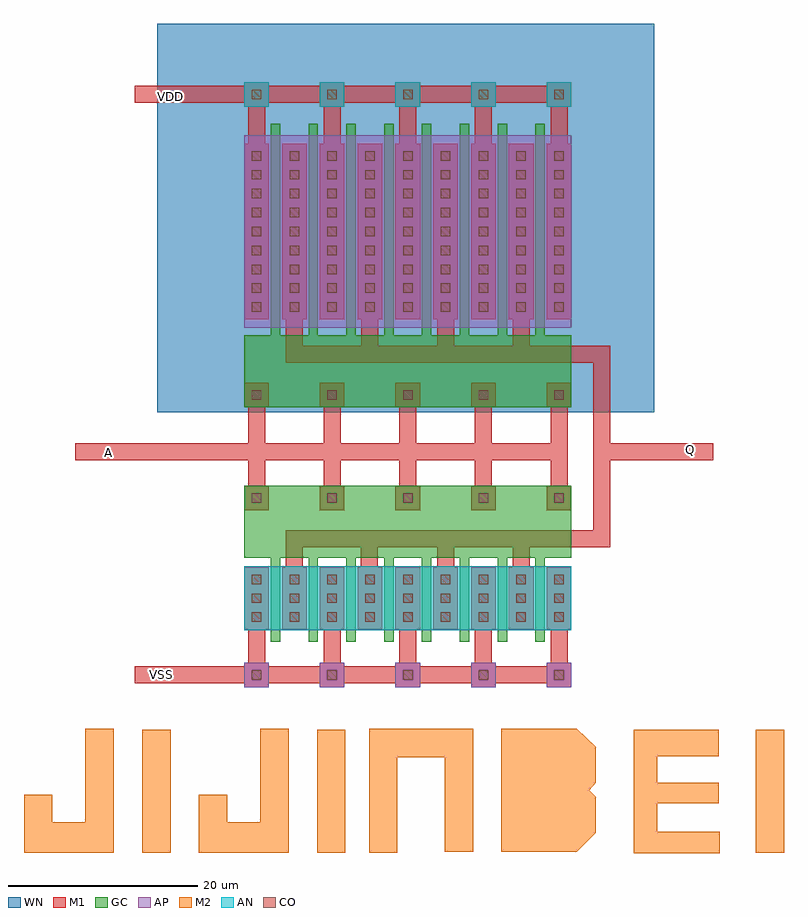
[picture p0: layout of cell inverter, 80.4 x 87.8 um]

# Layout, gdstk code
import gdstk
lib = gdstk.Library(unit=1e-6, precision=1e-07)
def R(c, l, rs):  # rectangles x0, y0, x1, y1
    for r in rs: c.add(gdstk.rectangle(r[:2], r[2:], *l))
def A(c, l, x, y, w, h, nx, ny, dx, dy):  # array of equal rectangles
    R(c, l, [(x+i*dx, y+j*dy, x+i*dx+w, y+j*dy+h) for i in range(nx) for j in range(ny)])
def P(c, l, *ps):  # polygons
    for p in ps: c.add(gdstk.Polygon(p, *l))
AP = (3, 1)
AN = (3, 2)
GC = (8, 1)
CO = (11, 0)
M1 = (13, 0)
M2 = (20, 0)
WN = (140, 0)

fet_p = lib.new_cell('fet_p')
R(fet_p, AP, [(-17.3,-10.2,17.3,10.2)])
A(fet_p, CO, -16.5, -8.5, 1, 1, 9, 9, 4, 2)
A(fet_p, M1, -17.3, -9.3, 2.6, 18.6, 9, 1, 4, 0)
fet_p.add(gdstk.FlexPath([(2,-11.4),(2,11.4)], 1, ends="flush", simple_path=True, layer=8, datatype=1))  # GC
fet_p.add(gdstk.FlexPath([(-2,-11.4),(-2,11.4)], 1, ends="flush", simple_path=True, layer=8, datatype=1))  # GC
fet_p.add(gdstk.FlexPath([(6,-11.4),(6,11.4)], 1, ends="flush", simple_path=True, layer=8, datatype=1))  # GC
fet_p.add(gdstk.FlexPath([(-6,-11.4),(-6,11.4)], 1, ends="flush", simple_path=True, layer=8, datatype=1))  # GC
fet_p.add(gdstk.FlexPath([(10,-11.4),(10,11.4)], 1, ends="flush", simple_path=True, layer=8, datatype=1))  # GC
fet_p.add(gdstk.FlexPath([(-10,-11.4),(-10,11.4)], 1, ends="flush", simple_path=True, layer=8, datatype=1))  # GC
fet_p.add(gdstk.FlexPath([(14,-11.4),(14,11.4)], 1, ends="flush", simple_path=True, layer=8, datatype=1))  # GC
fet_p.add(gdstk.FlexPath([(-14,-11.4),(-14,11.4)], 1, ends="flush", simple_path=True, layer=8, datatype=1))  # GC

cont_g = lib.new_cell('cont_g')
R(cont_g, GC, [(-1.3,-1.3,1.3,1.3)])
R(cont_g, CO, [(-0.5,-0.5,0.5,0.5)])
R(cont_g, M1, [(-1.3,-1.3,1.3,1.3)])

cont_p = lib.new_cell('cont_p')
R(cont_p, AP, [(-1.3,-1.3,1.3,1.3)])
R(cont_p, CO, [(-0.5,-0.5,0.5,0.5)])
R(cont_p, M1, [(-1.3,-1.3,1.3,1.3)])

fet_n = lib.new_cell('fet_n')
R(fet_n, AN, [(-17.3,-3.4,17.3,3.4)])
A(fet_n, CO, -16.5, -2.5, 1, 1, 9, 3, 4, 2)
A(fet_n, M1, -17.3, -3.3, 2.6, 6.6, 9, 1, 4, 0)
fet_n.add(gdstk.FlexPath([(2,-4.6),(2,4.6)], 1, ends="flush", simple_path=True, layer=8, datatype=1))  # GC
fet_n.add(gdstk.FlexPath([(-2,-4.6),(-2,4.6)], 1, ends="flush", simple_path=True, layer=8, datatype=1))  # GC
fet_n.add(gdstk.FlexPath([(6,-4.6),(6,4.6)], 1, ends="flush", simple_path=True, layer=8, datatype=1))  # GC
fet_n.add(gdstk.FlexPath([(-6,-4.6),(-6,4.6)], 1, ends="flush", simple_path=True, layer=8, datatype=1))  # GC
fet_n.add(gdstk.FlexPath([(10,-4.6),(10,4.6)], 1, ends="flush", simple_path=True, layer=8, datatype=1))  # GC
fet_n.add(gdstk.FlexPath([(-10,-4.6),(-10,4.6)], 1, ends="flush", simple_path=True, layer=8, datatype=1))  # GC
fet_n.add(gdstk.FlexPath([(14,-4.6),(14,4.6)], 1, ends="flush", simple_path=True, layer=8, datatype=1))  # GC
fet_n.add(gdstk.FlexPath([(-14,-4.6),(-14,4.6)], 1, ends="flush", simple_path=True, layer=8, datatype=1))  # GC

cont_n = lib.new_cell('cont_n')
R(cont_n, AN, [(-1.3,-1.3,1.3,1.3)])
R(cont_n, CO, [(-0.5,-0.5,0.5,0.5)])
R(cont_n, M1, [(-1.3,-1.3,1.3,1.3)])

inverter = lib.new_cell('inverter')
P(inverter, GC, [(49.2,-11.6),(49.2,-4),(83.8,-4),(83.8,-11.6),(54.1,-11.6)],
  [(49.2,-27.5),(49.2,-19.9),(83.8,-19.9),(83.8,-27.5),(54.1,-27.5)])
R(inverter, M2, [(38.4,-58.7,41.4,-45.7), (56.9,-58.7,59.9,-45.7), (103.3,-58.7,106.3,-45.7), (79.4,-56.1,83.5,-53.1), (79.4,-51.1,83.4,-48.1)])
P(inverter, M2, [(90.4,-58.8),(90.4,-45.7),(99.4,-45.7),(99.4,-48.5),(92.9,-48.5),(92.9,-51.3),(99.4,-51.3),(99.4,-53.5),(92.9,-53.5),(92.9,-56.5),(99.5,-56.5),(99.5,-58.8)],
  [(44.4,-58.7),(44.4,-52.6),(47.4,-52.6),(47.4,-55.5),(50.9,-55.5),(50.9,-45.6),(53.9,-45.6),(53.9,-58.7)],
  [(62.4,-58.7),(62.4,-45.6),(73.4,-45.6),(73.4,-58.6),(70.4,-58.6),(70.4,-48.6),(65.4,-48.6),(65.4,-58.7)],
  [(76.4,-58.6),(76.4,-45.6),(84.4,-45.6),(86.4,-47.5),(86.4,-51.3),(85.7,-52.1),(86.4,-52.8),(86.4,-56.6),(84.4,-58.6)],
  [(25.9,-58.7),(25.9,-52.6),(28.9,-52.6),(28.9,-55.5),(32.4,-55.5),(32.4,-45.6),(35.4,-45.6),(35.4,-58.7)])
P(inverter, WN, [(40,-12.1),(40,29),(50.8,29),(92.6,29),(92.6,-12.1)])
inverter.add(gdstk.FlexPath([(54.5,16.3),(54.5,-6),(87.9,-6)], 1.8, ends="flush", simple_path=True, layer=13, datatype=0))  # M1
inverter.add(gdstk.FlexPath([(62.5,16.3),(62.5,-6.9)], 1.8, ends="flush", simple_path=True, layer=13, datatype=0))  # M1
inverter.add(gdstk.FlexPath([(70.5,16.3),(70.5,-6.9)], 1.8, ends="flush", simple_path=True, layer=13, datatype=0))  # M1
inverter.add(gdstk.FlexPath([(78.5,16.3),(78.5,-6.9)], 1.8, ends="flush", simple_path=True, layer=13, datatype=0))  # M1
inverter.add(gdstk.FlexPath([(82.5,-28.5),(82.5,-39.9),(37.6,-39.9),(37.6,-39.9),(37.6,-39.9),(37.6,-39.9)], 1.8, ends="flush", simple_path=True, layer=13, datatype=0))  # M1
inverter.add(gdstk.FlexPath([(74.5,-28.5),(74.5,-40.8),(74.5,-40.8)], 1.8, ends="flush", simple_path=True, layer=13, datatype=0))  # M1
inverter.add(gdstk.FlexPath([(66.5,-28.5),(66.5,-40.8)], 1.8, ends="flush", simple_path=True, layer=13, datatype=0))  # M1
inverter.add(gdstk.FlexPath([(58.5,-28.5),(58.5,-40.8)], 1.8, ends="flush", simple_path=True, layer=13, datatype=0))  # M1
inverter.add(gdstk.FlexPath([(50.5,-28.5),(50.5,-40.8)], 1.8, ends="flush", simple_path=True, layer=13, datatype=0))  # M1
inverter.add(gdstk.FlexPath([(54.5,-35.1),(54.5,-25.5),(87.9,-25.5)], 1.8, ends="flush", simple_path=True, layer=13, datatype=0))  # M1
inverter.add(gdstk.FlexPath([(62.4,-35.1),(62.4,-24.6),(62.4,-24.6)], 1.8, ends="flush", simple_path=True, layer=13, datatype=0))  # M1
inverter.add(gdstk.FlexPath([(70.5,-35.1),(70.5,-24.6)], 1.8, ends="flush", simple_path=True, layer=13, datatype=0))  # M1
inverter.add(gdstk.FlexPath([(78.5,-35.1),(78.5,-24.6)], 1.8, ends="flush", simple_path=True, layer=13, datatype=0))  # M1
inverter.add(gdstk.FlexPath([(87,-5.1),(87,-26.4)], 1.8, ends="flush", simple_path=True, layer=13, datatype=0))  # M1
inverter.add(gdstk.FlexPath([(86.1,-16.3),(98.8,-16.3)], 1.8, ends="flush", simple_path=True, layer=13, datatype=0))  # M1
inverter.add(gdstk.FlexPath([(83.4,-16.3),(31.3,-16.3)], 1.8, ends="flush", simple_path=True, layer=13, datatype=0))  # M1
inverter.add(gdstk.FlexPath([(82.5,-2.3),(82.5,21.5),(37.6,21.5),(37.6,21.5)], 1.8, ends="flush", simple_path=True, layer=13, datatype=0))  # M1
inverter.add(gdstk.FlexPath([(74.5,-2.3),(74.5,22.4)], 1.8, ends="flush", simple_path=True, layer=13, datatype=0))  # M1
inverter.add(gdstk.FlexPath([(66.5,-2.3),(66.5,22.4)], 1.8, ends="flush", simple_path=True, layer=13, datatype=0))  # M1
inverter.add(gdstk.FlexPath([(58.5,-2.3),(58.5,22.4)], 1.8, ends="flush", simple_path=True, layer=13, datatype=0))  # M1
inverter.add(gdstk.FlexPath([(50.5,-2.3),(50.5,22.4)], 1.8, ends="flush", simple_path=True, layer=13, datatype=0))  # M1
inverter.add(gdstk.FlexPath([(82.5,-9),(82.5,-22.5)], 1.8, ends="flush", simple_path=True, layer=13, datatype=0))  # M1
inverter.add(gdstk.FlexPath([(66.5,-9),(66.5,-22.5)], 1.8, ends="flush", simple_path=True, layer=13, datatype=0))  # M1
inverter.add(gdstk.FlexPath([(74.5,-9),(74.5,-22.5)], 1.8, ends="flush", simple_path=True, layer=13, datatype=0))  # M1
inverter.add(gdstk.FlexPath([(58.5,-9),(58.5,-22.5)], 1.8, ends="flush", simple_path=True, layer=13, datatype=0))  # M1
inverter.add(gdstk.FlexPath([(50.5,-9),(50.5,-22.5)], 1.8, ends="flush", simple_path=True, layer=13, datatype=0))  # M1
inverter.add(gdstk.Reference(fet_p, (66.5,7)))
inverter.add(gdstk.Reference(cont_g, (50.5,-10.3)))
inverter.add(gdstk.Reference(cont_g, (58.5,-10.3)))
inverter.add(gdstk.Reference(cont_g, (66.5,-10.3)))
inverter.add(gdstk.Reference(cont_p, (82.5,-39.9)))
inverter.add(gdstk.Reference(fet_n, (66.5,-31.8)))
inverter.add(gdstk.Reference(cont_g, (82.5,-10.3)))
inverter.add(gdstk.Reference(cont_g, (74.5,-10.3)))
inverter.add(gdstk.Reference(cont_n, (50.5,21.5)))
inverter.add(gdstk.Reference(cont_n, (58.5,21.5)))
inverter.add(gdstk.Reference(cont_n, (66.5,21.5)))
inverter.add(gdstk.Reference(cont_n, (74.5,21.5)))
inverter.add(gdstk.Reference(cont_n, (82.5,21.5)))
inverter.add(gdstk.Reference(cont_p, (74.5,-39.9)))
inverter.add(gdstk.Reference(cont_p, (66.5,-39.9)))
inverter.add(gdstk.Reference(cont_p, (58.5,-39.9)))
inverter.add(gdstk.Reference(cont_p, (50.5,-39.9)))
inverter.add(gdstk.Reference(cont_g, (50.5,-21.2)))
inverter.add(gdstk.Reference(cont_g, (58.5,-21.2)))
inverter.add(gdstk.Reference(cont_g, (66.5,-21.2)))
inverter.add(gdstk.Reference(cont_g, (82.5,-21.2)))
inverter.add(gdstk.Reference(cont_g, (74.5,-21.2)))
inverter.add(gdstk.Label('VDD', (41.4,21.3), layer=48, texttype=0))
inverter.add(gdstk.Label('A', (34.8,-16.4), layer=48, texttype=0))
inverter.add(gdstk.Label('VSS', (40.4,-39.9), layer=48, texttype=0))
inverter.add(gdstk.Label('Q', (96.4,-16.1), layer=48, texttype=0))

lib.write_gds('inverter.gds')
